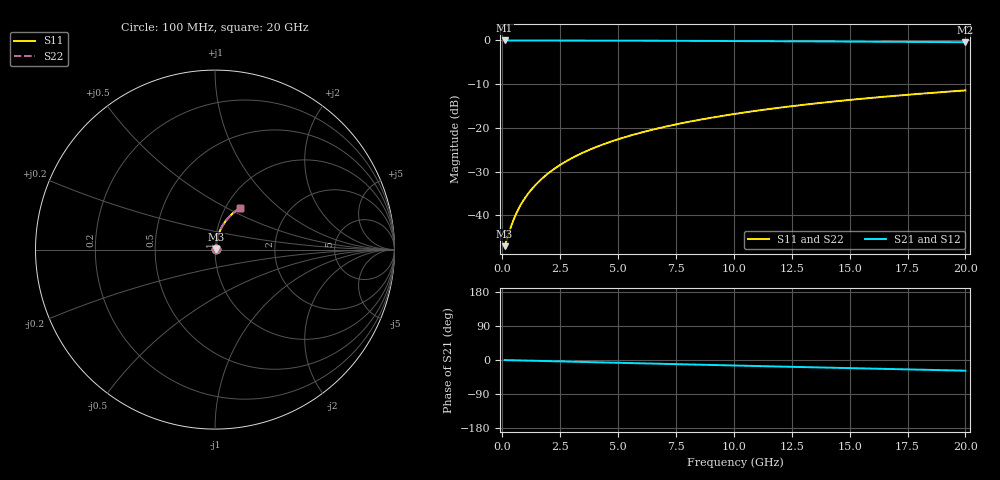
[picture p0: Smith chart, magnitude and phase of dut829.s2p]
! Touchstone file exported from HFSS 2026.1.0
!  File:  C:/ffzhzh/LocalFiles/Ansys_Project_Files/temp_train_BSMRDL_829_1783170213_18472.aedt
!  Generated:  09:04:46 PM Jul  4, 2026
!  Design:  BSMRDL
!  Project:  temp_train_BSMRDL_829_1783170213_18472
! Variables:
!  h_bsmrdl = 3.05um
!  h_ox = 20um
!  h_rdl = 5um
!  h_sub = 80um
!  h_tmrdl = 5um
!  h_tsv = 80um
!  h_via = 3um
!  l_bsmrdl = 410.42um
!  l_sub = 810.42um
!  l_tmrdl = 200um
!  m_sub = 200um
!  pitch = 27.13um
!  r_tsv = 6um
!  s_tmrdl = 10um
!  w_bsmrdl = 11.83um
!  w_sub = 500um
!  w_tmrdl = 12um
!  x_tsv_center1 = 206um
!  x_tsv_center2 = 628.25um
!  x_tsv_center3 = 840.25um
!  x_tsv_center4 = 1262.5um
!  x_tsv_center5 = 1474.5um
!  x_tsv_center6 = 1896.75um
# GHz S MA R 50.000000
! Terminal data exported
! Port[1] = BSM_RDL1_1_T1
! Port[2] = BSM_RDL1_1_T2
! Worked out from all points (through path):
!   200 points, 100 MHz to 20 GHz, reference 50 ohm
!   highest |S21| = -0.04 dB at 100 MHz (marker M1); lowest = -0.4 dB at 20 GHz (marker M2)
!   group delay of S21, straight-line fit = 3.91 ps
!   lowest |S11| = -47.0 dB at 100 MHz (marker M3), VSWR 1.01, Z = 50.4 + j0.163 ohm
!   |S11| at or under -10 dB: start of sweep to end of sweep
!   |S22| runs from -47.0 to -11.5 dB; largest |S21 - S12| = 3e-15
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0.1  0.004453 21.3  0.9959 -0.2  0.9959 -0.2  0.004453 21.3
! Gamma 0 0 0 0
! Port Impedance 50 0 50 0
0.4  0.007736 54.9  0.9956 -0.6  0.9956 -0.6  0.007736 54.9
0.5  0.009083 59.8  0.9955 -0.8  0.9955 -0.8  0.009083 59.8
0.6  0.01046 63.2  0.9954 -0.9  0.9954 -0.9  0.01046 63.2
0.7  0.01185 65.9  0.9953 -1.1  0.9953 -1.1  0.01185 65.9
0.9  0.01466 69.7  0.9951 -1.4  0.9951 -1.4  0.01466 69.7
1.1  0.0175 72.2  0.995 -1.7  0.995 -1.7  0.0175 72.2
1.3  0.02036 74.0  0.9949 -1.9  0.9949 -1.9  0.02036 74.0
1.7  0.02612 76.2  0.9946 -2.5  0.9946 -2.5  0.02612 76.2
2.2  0.03338 77.7  0.9942 -3.3  0.9942 -3.3  0.03338 77.7
2.8  0.04212 78.5  0.9937 -4.1  0.9937 -4.1  0.04212 78.5
3.5  0.05233 78.7  0.993 -5.2  0.993 -5.2  0.05233 78.7
4.2  0.0625 78.4  0.9922 -6.2  0.9922 -6.2  0.0625 78.4
5  0.07405 77.8  0.9911 -7.4  0.9911 -7.4  0.07405 77.8
5.9  0.08694 77.0  0.9896 -8.7  0.9896 -8.7  0.08694 77.0
6.8  0.0997 76.0  0.988 -10.0  0.988 -10.0  0.0997 76.0
8.3  0.1206 74.2  0.985 -12.1  0.985 -12.1  0.1206 74.2
10.1  0.1452 71.9  0.9808 -14.7  0.9808 -14.7  0.1452 71.9
11.7  0.1664 69.9  0.9767 -16.9  0.9767 -16.9  0.1664 69.9
13.4  0.1884 67.6  0.972 -19.3  0.972 -19.3  0.1884 67.6
16.7  0.2292 63.4  0.962 -23.8  0.962 -23.8  0.2292 63.4
20  0.2676 59.2  0.9511 -28.2  0.9511 -28.2  0.2676 59.2
